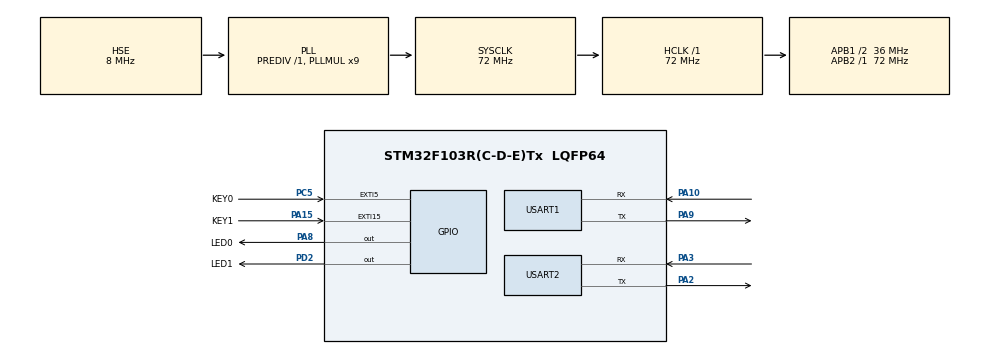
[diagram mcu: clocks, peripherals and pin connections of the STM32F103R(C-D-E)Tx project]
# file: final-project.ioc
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Dma.Request0=USART1_RX
Dma.Request1=USART2_RX
Dma.USART1_RX.0.Direction=DMA_PERIPH_TO_MEMORY
Dma.USART1_RX.0.Instance=DMA1_Channel5
Dma.USART1_RX.0.MemDataAlignment=DMA_MDATAALIGN_BYTE
Dma.USART1_RX.0.MemInc=DMA_MINC_ENABLE
Dma.USART1_RX.0.Mode=DMA_CIRCULAR
Dma.USART1_RX.0.PeriphDataAlignment=DMA_PDATAALIGN_BYTE
Dma.USART1_RX.0.PeriphInc=DMA_PINC_DISABLE
Dma.USART1_RX.0.Priority=DMA_PRIORITY_LOW
Dma.USART2_RX.1.Direction=DMA_PERIPH_TO_MEMORY
Dma.USART2_RX.1.Instance=DMA1_Channel6
Dma.USART2_RX.1.MemDataAlignment=DMA_MDATAALIGN_BYTE
Dma.USART2_RX.1.MemInc=DMA_MINC_ENABLE
Dma.USART2_RX.1.Mode=DMA_CIRCULAR
Dma.USART2_RX.1.PeriphDataAlignment=DMA_PDATAALIGN_BYTE
Dma.USART2_RX.1.PeriphInc=DMA_PINC_DISABLE
Dma.USART2_RX.1.Priority=DMA_PRIORITY_LOW
Mcu.Family=STM32F1
Mcu.Name=STM32F103R(C-D-E)Tx
Mcu.Package=LQFP64
NVIC.DMA1_Channel5_IRQn=true\:0\:0\:false\:false\:true\:false\:true
NVIC.DMA1_Channel6_IRQn=true\:0\:0\:false\:false\:true\:false\:true
NVIC.EXTI15_10_IRQn=true\:2\:0\:true\:false\:true\:true\:true
NVIC.EXTI9_5_IRQn=true\:2\:0\:true\:false\:true\:true\:true
NVIC.PriorityGroup=NVIC_PRIORITYGROUP_4
NVIC.TIM2_IRQn=true\:4\:0\:true\:false\:true\:true\:true
NVIC.TIM3_IRQn=true\:3\:0\:true\:false\:true\:true\:true
NVIC.USART1_IRQn=true\:1\:0\:true\:false\:true\:true\:true
NVIC.USART2_IRQn=true\:1\:0\:true\:false\:true\:true\:true
PA10.Mode=Asynchronous
PA10.Signal=USART1_RX
PA13.Mode=Serial_Wire
PA13.Signal=SYS_JTMS-SWDIO
PA14.Mode=Serial_Wire
PA14.Signal=SYS_JTCK-SWCLK
PA15.GPIO_Label=KEY1
PA15.GPIO_PuPd=GPIO_PULLUP
PA15.Signal=GPXTI15
PA2.Mode=Asynchronous
PA2.Signal=USART2_TX
PA3.Mode=Asynchronous
PA3.Signal=USART2_RX
PA8.GPIO_Label=LED0
PA8.Signal=GPIO_Output
PA9.Mode=Asynchronous
PA9.Signal=USART1_TX
PC5.GPIO_Label=KEY0
PC5.GPIO_PuPd=GPIO_PULLUP
PC5.Signal=GPXTI5
PD0-OSC_IN.Mode=HSE-External-Oscillator
PD0-OSC_IN.Signal=RCC_OSC_IN
PD1-OSC_OUT.Mode=HSE-External-Oscillator
PD1-OSC_OUT.Signal=RCC_OSC_OUT
PD2.GPIO_Label=LED1
PD2.Signal=GPIO_Output
ProjectManager.HeapSize=0x200
ProjectManager.StackSize=0x400
ProjectManager.TargetToolchain=STM32CubeIDE
RCC.AHBFreq_Value=72000000
RCC.APB1CLKDivider=RCC_HCLK_DIV2
RCC.APB1Freq_Value=36000000
RCC.APB1TimFreq_Value=72000000
RCC.APB2Freq_Value=72000000
RCC.APB2TimFreq_Value=72000000
RCC.HCLKFreq_Value=72000000
RCC.PLLMUL=RCC_PLL_MUL9
RCC.PLLSourceVirtual=RCC_PLLSOURCE_HSE
RCC.SYSCLKFreq_VALUE=72000000
RCC.SYSCLKSource=RCC_SYSCLKSOURCE_PLLCLK
RCC.USBFreq_Value=72000000
TIM1.Period=7199
TIM1.Prescaler=9999
TIM2.AutoReloadPreload=TIM_AUTORELOAD_PRELOAD_ENABLE
TIM2.Period=9999
TIM2.Prescaler=7199
TIM3.AutoReloadPreload=TIM_AUTORELOAD_PRELOAD_ENABLE
TIM3.Period=9999
TIM3.Prescaler=7199
USART1.VirtualMode=VM_ASYNC
USART2.VirtualMode=VM_ASYNC
VP_TIM1_VS_ClockSourceINT.Mode=Internal
VP_TIM2_VS_ClockSourceINT.Mode=Internal
VP_TIM3_VS_ClockSourceINT.Mode=Internal
board=custom

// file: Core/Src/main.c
/* USER CODE BEGIN Header */
/**
 ******************************************************************************
 * @file           : main.c
 * @brief          : Main program body
 ******************************************************************************
 * @attention
 *
 * <h2><center>&copy; Copyright (c) 2020 STMicroelectronics.
 * All rights reserved.</center></h2>
 *
 * This software component is licensed by ST under BSD 3-Clause license,
 * the "License"; You may not use this file except in compliance with the
 * License. You may obtain a copy of the License at:
 *                        opensource.org/licenses/BSD-3-Clause
 *
 ******************************************************************************
 */
/* USER CODE END Header */
#include "main.h"

/* USER CODE BEGIN Includes */
#include "lcd.h"
/* USER CODE END Includes */

TIM_HandleTypeDef htim1;
TIM_HandleTypeDef htim2;
TIM_HandleTypeDef htim3;

UART_HandleTypeDef huart1;
UART_HandleTypeDef huart2;
DMA_HandleTypeDef hdma_usart1_rx;
DMA_HandleTypeDef hdma_usart2_rx;

/* USER CODE BEGIN PV */
uint8_t uart1_rx_buffer[2048]; // for uart1 receive buffer
uint8_t uart2_rx_buffer[2048]; // for uart2 receive buffer

extern int connect_flag;

unsigned char received_Data[2048] = { 0 };
unsigned char received_Length = 0;
int complete_recv = 0;

char question[1024] = { 0 };
char feedback[1024] = { 0 };
int points = 0;
int time_limit = 0;
int mode = 0; // 0 waiting for question; 1 answering
/* USER CODE END PV */

void SystemClock_Config(void);
static void MX_GPIO_Init(void);
static void MX_DMA_Init(void);
static void MX_TIM3_Init(void);
static void MX_USART1_UART_Init(void);
static void MX_USART2_UART_Init(void);
static void MX_TIM2_Init(void);
static void MX_TIM1_Init(void);

/* USER CODE BEGIN 0 */

char uRx_Data[2048];
int uLength = 0;

/* USER CODE END 0 */

int main(void) {

	/* MCU Configuration--------------------------------------------------------*/

	/* Reset of all peripherals, Initializes the Flash interface and the Systick. */
	HAL_Init();

	/* Configure the system clock */
	SystemClock_Config();

	/* USER CODE BEGIN SysInit */
	LCD_Init();
	/* USER CODE END SysInit */

	/* Initialize all configured peripherals */
	MX_GPIO_Init();
	MX_DMA_Init();
	MX_TIM3_Init();
	MX_USART1_UART_Init();
	MX_USART2_UART_Init();
	MX_TIM2_Init();
	MX_TIM1_Init();
	/* USER CODE BEGIN 2 */
	__HAL_UART_ENABLE_IT(&huart1, UART_IT_IDLE);
	HAL_UART_Receive_DMA(&huart1, (uint8_t*) uart1_rx_buffer, 2048);
	__HAL_UART_ENABLE_IT(&huart2, UART_IT_IDLE);
	HAL_UART_Receive_DMA(&huart2, (uint8_t*) uart2_rx_buffer, 2048);
	//HAL_TIM_Base_Start_IT(&htim3);

	/* USER CODE END 2 */

	/* Infinite loop */
	while (1) {

		/* USER CODE BEGIN 3 */
		if (mode == 1) {
			Get_Answer();
		}

	}
	/* USER CODE END 3 */
}

void SystemClock_Config(void) {
	RCC_OscInitTypeDef RCC_OscInitStruct = { 0 };
	RCC_ClkInitTypeDef RCC_ClkInitStruct = { 0 };

	/** Initializes the RCC Oscillators according to the specified parameters
	 * in the RCC_OscInitTypeDef structure.
	 */
	RCC_OscInitStruct.OscillatorType = RCC_OSCILLATORTYPE_HSE;
	RCC_OscInitStruct.HSEState = RCC_HSE_ON;
	RCC_OscInitStruct.HSEPredivValue = RCC_HSE_PREDIV_DIV1;
	RCC_OscInitStruct.HSIState = RCC_HSI_ON;
	RCC_OscInitStruct.PLL.PLLState = RCC_PLL_ON;
	RCC_OscInitStruct.PLL.PLLSource = RCC_PLLSOURCE_HSE;
	RCC_OscInitStruct.PLL.PLLMUL = RCC_PLL_MUL9;
	if (HAL_RCC_OscConfig(&RCC_OscInitStruct) != HAL_OK) {
		Error_Handler();
	}
	/** Initializes the CPU, AHB and APB buses clocks
	 */
	RCC_ClkInitStruct.ClockType = RCC_CLOCKTYPE_HCLK | RCC_CLOCKTYPE_SYSCLK
			| RCC_CLOCKTYPE_PCLK1 | RCC_CLOCKTYPE_PCLK2;
	RCC_ClkInitStruct.SYSCLKSource = RCC_SYSCLKSOURCE_PLLCLK;
	RCC_ClkInitStruct.AHBCLKDivider = RCC_SYSCLK_DIV1;
	RCC_ClkInitStruct.APB1CLKDivider = RCC_HCLK_DIV2;
	RCC_ClkInitStruct.APB2CLKDivider = RCC_HCLK_DIV1;

	if (HAL_RCC_ClockConfig(&RCC_ClkInitStruct, FLASH_LATENCY_2) != HAL_OK) {
		Error_Handler();
	}
}

static void MX_TIM1_Init(void) {

	TIM_ClockConfigTypeDef sClockSourceConfig = { 0 };
	TIM_MasterConfigTypeDef sMasterConfig = { 0 };

	htim1.Instance = TIM1;
	htim1.Init.Prescaler = 9999;
	htim1.Init.CounterMode = TIM_COUNTERMODE_UP;
	htim1.Init.Period = 7199;
	htim1.Init.ClockDivision = TIM_CLOCKDIVISION_DIV1;
	htim1.Init.RepetitionCounter = 0;
	htim1.Init.AutoReloadPreload = TIM_AUTORELOAD_PRELOAD_DISABLE;
	if (HAL_TIM_Base_Init(&htim1) != HAL_OK) {
		Error_Handler();
	}
	sClockSourceConfig.ClockSource = TIM_CLOCKSOURCE_INTERNAL;
	if (HAL_TIM_ConfigClockSource(&htim1, &sClockSourceConfig) != HAL_OK) {
		Error_Handler();
	}
	sMasterConfig.MasterOutputTrigger = TIM_TRGO_RESET;
	sMasterConfig.MasterSlaveMode = TIM_MASTERSLAVEMODE_DISABLE;
	if (HAL_TIMEx_MasterConfigSynchronization(&htim1, &sMasterConfig)
			!= HAL_OK) {
		Error_Handler();
	}

}

static void MX_TIM2_Init(void) {

	TIM_ClockConfigTypeDef sClockSourceConfig = { 0 };
	TIM_MasterConfigTypeDef sMasterConfig = { 0 };

	htim2.Instance = TIM2;
	htim2.Init.Prescaler = 7199;
	htim2.Init.CounterMode = TIM_COUNTERMODE_UP;
	htim2.Init.Period = 9999;
	htim2.Init.ClockDivision = TIM_CLOCKDIVISION_DIV1;
	htim2.Init.AutoReloadPreload = TIM_AUTORELOAD_PRELOAD_ENABLE;
	if (HAL_TIM_Base_Init(&htim2) != HAL_OK) {
		Error_Handler();
	}
	sClockSourceConfig.ClockSource = TIM_CLOCKSOURCE_INTERNAL;
	if (HAL_TIM_ConfigClockSource(&htim2, &sClockSourceConfig) != HAL_OK) {
		Error_Handler();
	}
	sMasterConfig.MasterOutputTrigger = TIM_TRGO_RESET;
	sMasterConfig.MasterSlaveMode = TIM_MASTERSLAVEMODE_DISABLE;
	if (HAL_TIMEx_MasterConfigSynchronization(&htim2, &sMasterConfig)
			!= HAL_OK) {
		Error_Handler();
	}

}

static void MX_TIM3_Init(void) {

	TIM_ClockConfigTypeDef sClockSourceConfig = { 0 };
	TIM_MasterConfigTypeDef sMasterConfig = { 0 };

	htim3.Instance = TIM3;
	htim3.Init.Prescaler = 7199;
	htim3.Init.CounterMode = TIM_COUNTERMODE_UP;
	htim3.Init.Period = 9999;
	htim3.Init.ClockDivision = TIM_CLOCKDIVISION_DIV1;
	htim3.Init.AutoReloadPreload = TIM_AUTORELOAD_PRELOAD_ENABLE;
	if (HAL_TIM_Base_Init(&htim3) != HAL_OK) {
		Error_Handler();
	}
	sClockSourceConfig.ClockSource = TIM_CLOCKSOURCE_INTERNAL;
	if (HAL_TIM_ConfigClockSource(&htim3, &sClockSourceConfig) != HAL_OK) {
		Error_Handler();
	}
	sMasterConfig.MasterOutputTrigger = TIM_TRGO_RESET;
	sMasterConfig.MasterSlaveMode = TIM_MASTERSLAVEMODE_DISABLE;
	if (HAL_TIMEx_MasterConfigSynchronization(&htim3, &sMasterConfig)
			!= HAL_OK) {
		Error_Handler();
	}

}

static void MX_USART1_UART_Init(void) {

	huart1.Instance = USART1;
	huart1.Init.BaudRate = 115200;
	huart1.Init.WordLength = UART_WORDLENGTH_8B;
	huart1.Init.StopBits = UART_STOPBITS_1;
	huart1.Init.Parity = UART_PARITY_NONE;
	huart1.Init.Mode = UART_MODE_TX_RX;
	huart1.Init.HwFlowCtl = UART_HWCONTROL_NONE;
	huart1.Init.OverSampling = UART_OVERSAMPLING_16;
	if (HAL_UART_Init(&huart1) != HAL_OK) {
		Error_Handler();
	}

}

static void MX_USART2_UART_Init(void) {

	huart2.Instance = USART2;
	huart2.Init.BaudRate = 115200;
	huart2.Init.WordLength = UART_WORDLENGTH_8B;
	huart2.Init.StopBits = UART_STOPBITS_1;
	huart2.Init.Parity = UART_PARITY_NONE;
	huart2.Init.Mode = UART_MODE_TX_RX;
	huart2.Init.HwFlowCtl = UART_HWCONTROL_NONE;
	huart2.Init.OverSampling = UART_OVERSAMPLING_16;
	if (HAL_UART_Init(&huart2) != HAL_OK) {
		Error_Handler();
	}

}

static void MX_DMA_Init(void) {

	/* DMA controller clock enable */
	__HAL_RCC_DMA1_CLK_ENABLE();

	/* DMA interrupt init */
	/* DMA1_Channel5_IRQn interrupt configuration */
	HAL_NVIC_SetPriority(DMA1_Channel5_IRQn, 0, 0);
	HAL_NVIC_EnableIRQ(DMA1_Channel5_IRQn);
	/* DMA1_Channel6_IRQn interrupt configuration */
	HAL_NVIC_SetPriority(DMA1_Channel6_IRQn, 0, 0);
	HAL_NVIC_EnableIRQ(DMA1_Channel6_IRQn);

}

static void MX_GPIO_Init(void) {
	GPIO_InitTypeDef GPIO_InitStruct = { 0 };

	/* GPIO Ports Clock Enable */
	__HAL_RCC_GPIOD_CLK_ENABLE();
	__HAL_RCC_GPIOA_CLK_ENABLE();
	__HAL_RCC_GPIOC_CLK_ENABLE();

	/*Configure GPIO pin Output Level */
	HAL_GPIO_WritePin(LED0_GPIO_Port, LED0_Pin, GPIO_PIN_RESET);

	/*Configure GPIO pin Output Level */
	HAL_GPIO_WritePin(LED1_GPIO_Port, LED1_Pin, GPIO_PIN_RESET);

	/*Configure GPIO pin : KEY0_Pin */
	GPIO_InitStruct.Pin = KEY0_Pin;
	GPIO_InitStruct.Mode = GPIO_MODE_IT_RISING;
	GPIO_InitStruct.Pull = GPIO_PULLUP;
	HAL_GPIO_Init(KEY0_GPIO_Port, &GPIO_InitStruct);

	/*Configure GPIO pin : LED0_Pin */
	GPIO_InitStruct.Pin = LED0_Pin;
	GPIO_InitStruct.Mode = GPIO_MODE_OUTPUT_PP;
	GPIO_InitStruct.Pull = GPIO_NOPULL;
	GPIO_InitStruct.Speed = GPIO_SPEED_FREQ_LOW;
	HAL_GPIO_Init(LED0_GPIO_Port, &GPIO_InitStruct);

	/*Configure GPIO pin : KEY1_Pin */
	GPIO_InitStruct.Pin = KEY1_Pin;
	GPIO_InitStruct.Mode = GPIO_MODE_IT_RISING;
	GPIO_InitStruct.Pull = GPIO_PULLUP;
	HAL_GPIO_Init(KEY1_GPIO_Port, &GPIO_InitStruct);

	/*Configure GPIO pin : LED1_Pin */
	GPIO_InitStruct.Pin = LED1_Pin;
	GPIO_InitStruct.Mode = GPIO_MODE_OUTPUT_PP;
	GPIO_InitStruct.Pull = GPIO_NOPULL;
	GPIO_InitStruct.Speed = GPIO_SPEED_FREQ_LOW;
	HAL_GPIO_Init(LED1_GPIO_Port, &GPIO_InitStruct);

	/* EXTI interrupt init*/
	HAL_NVIC_SetPriority(EXTI9_5_IRQn, 2, 0);
	HAL_NVIC_EnableIRQ(EXTI9_5_IRQn);

	HAL_NVIC_SetPriority(EXTI15_10_IRQn, 2, 0);
	HAL_NVIC_EnableIRQ(EXTI15_10_IRQn);

}

/* USER CODE BEGIN 4 */
void Show_Question() {
	LCD_Clear(WHITE);
	BACK_COLOR = WHITE;

	//HAL_UART_Transmit(&huart1, received_Data, received_Length, 0xffff);
	int i;
	int question_length;
	for (i = 0; ; i++) {
		if (received_Data[i] != '|') {
			question[i] = received_Data[i];
		} else {
			question_length = i + 1;
			break;
		}
	}
	i++;

	LCD_ShowString(10, 90, 200, 24, 12, (uint8_t*) question);
	char choice[1024] = { 0 };
	for (; ; i++) {
		if (received_Data[i] != '|') {
			choice[i - question_length] = received_Data[i];
		} else {
			question_length = i + 1 - question_length;
			break;
		}
	}
	i++;
	points = 0;
	for (; ; i++) {
		if (received_Data[i] != '|') {
			points *= 10;
			points += received_Data[i] - '0';
		} else {
			break;
		}
	}
	i++;
	time_limit = 0;
	for (; ; i++) {
		if (received_Data[i] != '|') {
			time_limit *= 10;
			time_limit += received_Data[i] - '0';
		} else {
			break;
		}
	}
	LCD_ShowString(10, 130, 200, 24, 12, (uint8_t*) choice);
	HAL_UART_Transmit(&huart1, (uint8_t*) choice, question_length, 0xffff);
	Display_Points(points);
	Display_Time(time_limit);
	received_Length = 0;

}

void Display_Points(int p) {
	char msg[20];
	sprintf(msg, "%d", p);
	POINT_COLOR = BLACK;
	LCD_ShowString(10, 10, 200, 24, 16, (uint8_t*) "Points Awarded: ");
	POINT_COLOR = RED;
	LCD_ShowString(200, 10, 200, 24, 16, (uint8_t*) msg);
	sprintf(msg, "\r%d", p);
	HAL_UART_Transmit(&huart1, (uint8_t*) msg, 20, 0xffff);
}

void Display_Time(int t) {
	char msg[20];
	sprintf(msg, "%d s", t);
	POINT_COLOR = BLACK;
	LCD_ShowString(10, 45, 200, 24, 24, (uint8_t*) "Time Limit: ");
	POINT_COLOR = RED;
	LCD_ShowString(150, 45, 200, 24, 24, (uint8_t*) msg);
}

void Show_Feedback() {
	LCD_Clear(WHITE);
	BACK_COLOR = WHITE;
	int i;
	int feedback_length;
	for (i = 0; i < received_Length; i++) {
		if (received_Data[i] != '|') {
			feedback[i] = received_Data[i];
		} else {
			feedback_length = i + 1;
			break;
		}
	}
	i++;
	points = 0;
	for (; i < received_Length; i++) {
		if (received_Data[i] != '|') {
			points *= 10;
			points += received_Data[i] - '0';
		} else {
			break;
		}
	}
	LCD_ShowString(10, 90, 200, 24, 12, (uint8_t*) feedback);
	Display_Points(points);
}

void Get_Answer() {
	char answer[5];
	if (HAL_GPIO_ReadPin(KEY0_GPIO_Port, KEY0_Pin) == GPIO_PIN_RESET) {
		sprintf(answer, "0");
		Display_Answer(answer);
		send_message((uint8_t*) answer);

		mode=2;
	} else if (HAL_GPIO_ReadPin(KEY1_GPIO_Port, KEY1_Pin) == GPIO_PIN_RESET) {
		sprintf(answer, "1");
		Display_Answer(answer);
		send_message((uint8_t*) answer);

		mode=2;
	}
}

void Display_Answer(char a[]) {
	POINT_COLOR = BLACK;
	LCD_ShowString(10, 200, 200, 24, 24, (uint8_t*) "Your Answer: ");
	POINT_COLOR = RED;
	LCD_ShowString(170, 200, 200, 24, 24, (uint8_t*) a);
}
/* USER CODE END 4 */

void Error_Handler(void) {
}

/************************ (C) COPYRIGHT STMicroelectronics *****END OF FILE****/
